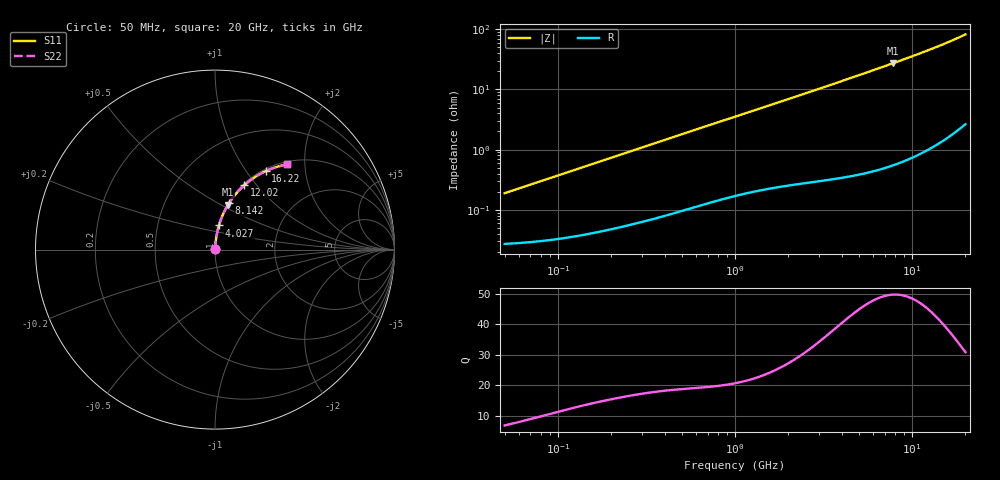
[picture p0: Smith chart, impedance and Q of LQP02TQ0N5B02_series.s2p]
!Murata Part Number: LQP02TQ0N5B02
!These Parameters are Measured in Series Mode Connection
!  o--[Z]--o
!Port1  Port2
!  o-------o
!Freq. Start=50[MHz] Stop=20[GHz], 401[Steps]
# Hz S RI R 50
!Freq.(Hz) S11(Real) S11(Imag) S21(Real) S21(Imag) S12(Real) S12(Imag) S22(Real) S22(Imag)
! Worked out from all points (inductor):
!   401 points, 50 MHz to 20 GHz, reference 50 ohm
!   read as one part in series: L = 596 pH near 51.52 MHz
!   highest Q = 49.7 at 7.784 GHz (marker M1), where L = 554 pH
!   S11 on the Smith chart (normalised r, x): 50 MHz: 1.00, +0.00; 4.027 GHz: 1.01, +0.28; 8.142 GHz: 1.01, +0.57; 12.02 GHz: 1.02, +0.87; 16.22 GHz: 1.03, +1.24; 20 GHz: 1.05, +1.63
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5e7  0.000275 0.00187  0.9997 -0.00187  0.9997 -0.00187  0.000275 0.00187
5.152053e7  0.000277 0.00193  0.9997 -0.00193  0.9997 -0.00193  0.000277 0.00193
1.364002e8  0.000405 0.00505  0.9996 -0.00505  0.9996 -0.00505  0.000405 0.00505
3.721004e8  0.000928 0.0135  0.9991 -0.0135  0.9991 -0.0135  0.000928 0.0135
6.380365e8  0.0017 0.0227  0.9983 -0.0227  0.9983 -0.0227  0.0017 0.0227
1e9  0.00292 0.0349  0.9971 -0.0349  0.9971 -0.0349  0.00292 0.0349
1.714689e9  0.00582 0.0588  0.9942 -0.0588  0.9942 -0.0588  0.00582 0.0588
2.728004e9  0.0115 0.0922  0.9885 -0.0922  0.9885 -0.0922  0.0115 0.0922
4.026975e9  0.0219 0.1345  0.9781 -0.1345  0.9781 -0.1345  0.0219 0.1345
5.515528e9  0.0384 0.1817  0.9616 -0.1817  0.9616 -0.1817  0.0384 0.1817
6.406762e9  0.0506 0.2092  0.9494 -0.2092  0.9494 -0.2092  0.0506 0.2092
7.442007e9  0.0669 0.24  0.9331 -0.24  0.9331 -0.24  0.0669 0.24
7.784049e9  0.0728 0.2499  0.9272 -0.2499  0.9272 -0.2499  0.0728 0.2499
8.141811e9  0.0792 0.2602  0.9208 -0.2602  0.9208 -0.2602  0.0792 0.2602
1.004137e10  0.1173 0.3117  0.8827 -0.3117  0.8827 -0.3117  0.1173 0.3117
1.201863e10  0.164 0.3594  0.836 -0.3594  0.836 -0.3594  0.164 0.3594
1.396067e10  0.2158 0.3996  0.7842 -0.3996  0.7842 -0.3996  0.2158 0.3996
1.504638e10  0.247 0.4189  0.753 -0.4189  0.753 -0.4189  0.247 0.4189
1.621653e10  0.2821 0.4369  0.7179 -0.4369  0.7179 -0.4369  0.2821 0.4369
1.828096e10  0.3471 0.4615  0.6529 -0.4615  0.6529 -0.4615  0.3471 0.4615
1.940974e10  0.3838 0.4709  0.6162 -0.4709  0.6162 -0.4709  0.3838 0.4709
2e10  0.4032 0.4746  0.5968 -0.4746  0.5968 -0.4746  0.4032 0.4746
